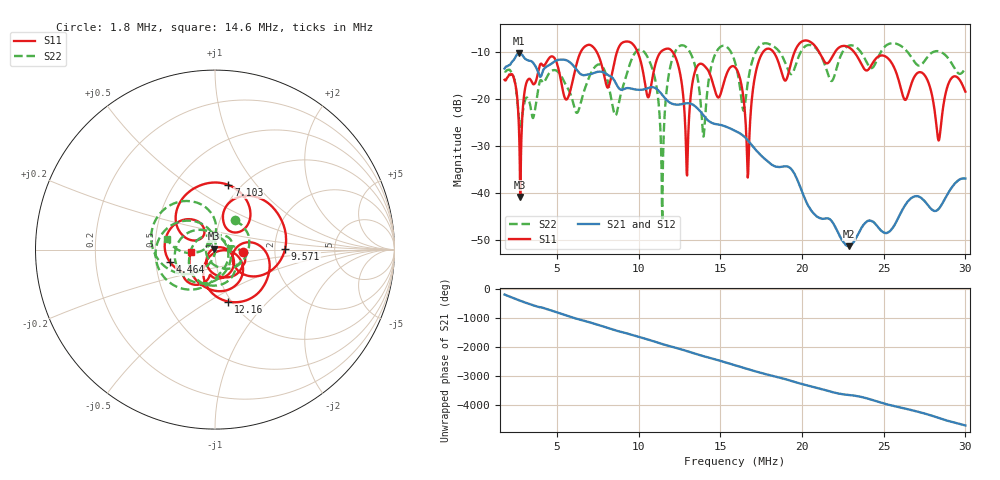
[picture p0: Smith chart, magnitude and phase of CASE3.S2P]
!Agilent Technologies,E5061B,MY49101568,A.02.00
!Date: Wed Mar 01 16:28:13 2023
!Data & Calibration Information:
!Freq	S11:SOLT2(OFF)	S21:SOLT2(OFF)	S12:SOLT2(OFF)	S22:SOLT2(OFF)
# Hz S dB R 50
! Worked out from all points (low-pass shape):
!   1155 points, 1.8 MHz to 30 MHz, reference 50 ohm
!   highest |S21| = -10.29 dB at 2.68 MHz (marker M1); lowest = -51.3 dB at 22.86 MHz (marker M2)
!   |S21| within 3 dB of the highest: 1.856 MHz to 3.719 MHz (1.863 MHz wide, 66.8 % of centre); 4.322 MHz to 6.084 MHz (1.762 MHz wide, 33.9 % of centre)
!   lowest |S11| = -40.9 dB at 2.753 MHz (marker M3), VSWR 1.02, Z = 49.3 + j0.547 ohm
!   |S11| at or under -10 dB: start of sweep to 6.469 MHz; 12.07 MHz to 17.63 MHz (5.562 MHz wide, 37.4 % of centre); 23.17 MHz to end of sweep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
!   |S22| runs from -46.0 to -8.2 dB; largest |S21 - S12| = 0.004
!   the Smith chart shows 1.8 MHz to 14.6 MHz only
!   S11 on the Smith chart (normalised r, x): 1.8 MHz: 1.38, -0.04; 4.464 MHz: 0.59, -0.09; 7.103 MHz: 0.88, +0.73; 9.571 MHz: 2.28, +0.02; 12.16 MHz: 0.97, -0.62; 14.6 MHz: 0.76, -0.02
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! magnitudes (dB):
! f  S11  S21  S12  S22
! 1.8 MHz  -16.0  -13.6  -13.6  -14.1
! 2.68 MHz  -26.5  -10.3  -10.3  -24.2
! 2.753 MHz  -40.9  -10.4  -10.3  -26.0
! 4.464 MHz  -11.7  -13.0  -13.0  -14.9
! 6.516 MHz  -9.7  -14.9  -14.8  -20.1
! 7.103 MHz  -8.7  -14.7  -14.6  -14.4
! 8.593 MHz  -11.1  -16.6  -16.6  -23.5
! 9.571 MHz  -8.2  -17.9  -17.8  -11.6
! 11.21 MHz  -10.9  -18.2  -18.3  -20.4
! 11.45 MHz  -9.8  -19.2  -19.2  -46.0
! 12.16 MHz  -10.5  -21.2  -21.2  -10.6
! 12.94 MHz  -35.8  -21.0  -21.0  -9.1
! 13.97 MHz  -12.8  -23.5  -23.5  -28.1
! 14.6 MHz  -17.4  -25.3  -25.3  -11.3
! 15.9 MHz  -13.3  -26.8  -26.8  -12.2
! 16.68 MHz  -36.8  -28.8  -28.8  -16.6
! 17.56 MHz  -10.4  -32.3  -32.4  -8.4
! 20.62 MHz  -8.2  -44.0  -43.9  -8.7
! 22.86 MHz  -9.1  -51.3  -51.3  -8.7
! 25.31 MHz  -11.6  -48.3  -48.2  -8.4
! 28.36 MHz  -28.9  -43.4  -43.4  -9.9
! 30 MHz  -18.5  -37.0  -36.9  -13.5
